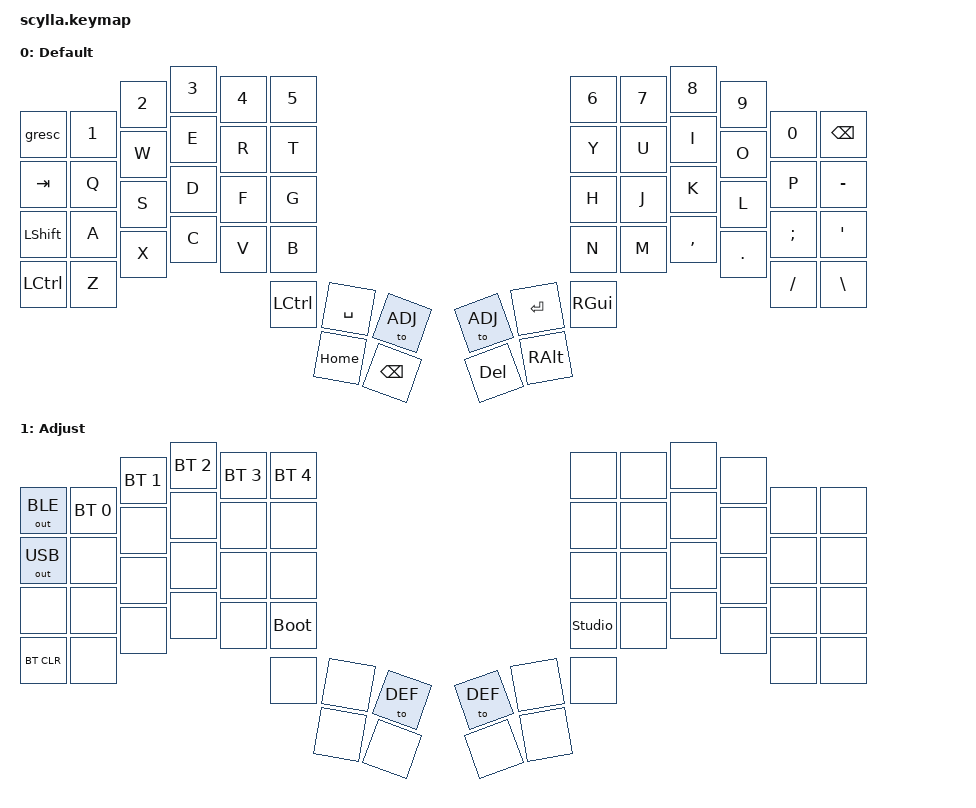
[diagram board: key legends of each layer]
#include <behaviors.dtsi>
#include <dt-bindings/zmk/keys.h>
#include <dt-bindings/zmk/bt.h>
#include <dt-bindings/zmk/outputs.h>

#define DEF 0
#define ADJ 1

/ {

    keymap {

        compatible = "zmk,keymap";

        default_layer {
            display-name = "Default";
            bindings = <
                &gresc         &kp N1         &kp N2         &kp N3         &kp N4         &kp N5               &kp N6           &kp N7     &kp N8      &kp N9    &kp N0     &kp BSPC
                &kp TAB        &kp Q          &kp W          &kp E          &kp R          &kp T                &kp Y            &kp U      &kp I       &kp O     &kp P      &kp MINUS
                &kp LSHIFT     &kp A          &kp S          &kp D          &kp F          &kp G                &kp H            &kp J      &kp K       &kp L     &kp SEMI   &kp SQT
                &kp LCTRL      &kp Z          &kp X          &kp C          &kp V          &kp B                &kp N            &kp M      &kp COMMA   &kp DOT   &kp FSLH   &kp BSLH
                                                             &kp LCTRL      &kp SPACE      &to ADJ              &to ADJ          &kp RET    &kp RGUI
                                                                            &kp HOME       &kp BSPC             &kp DEL          &kp RALT
            >;
        };

        adjust_layer {
            display-name = "Adjust";
            bindings = <
                &out OUT_BLE   &bt BT_SEL 0   &bt BT_SEL 1   &bt BT_SEL 2   &bt BT_SEL 3   &bt BT_SEL 4         &none            &none      &none       &none     &none      &none
                &out OUT_USB   &none          &none          &none          &none          &none                &none            &none      &none       &none     &none      &none
                &none          &none          &none          &none          &none          &none                &none            &none      &none       &none     &none      &none
                &bt BT_CLR     &none          &none          &none          &none          &bootloader          &studio_unlock   &none      &none       &none     &none      &none
                                                             &none          &none          &to DEF              &to DEF          &none      &none
                                                                            &none          &none                &none            &none
            >;
        };

    };
};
